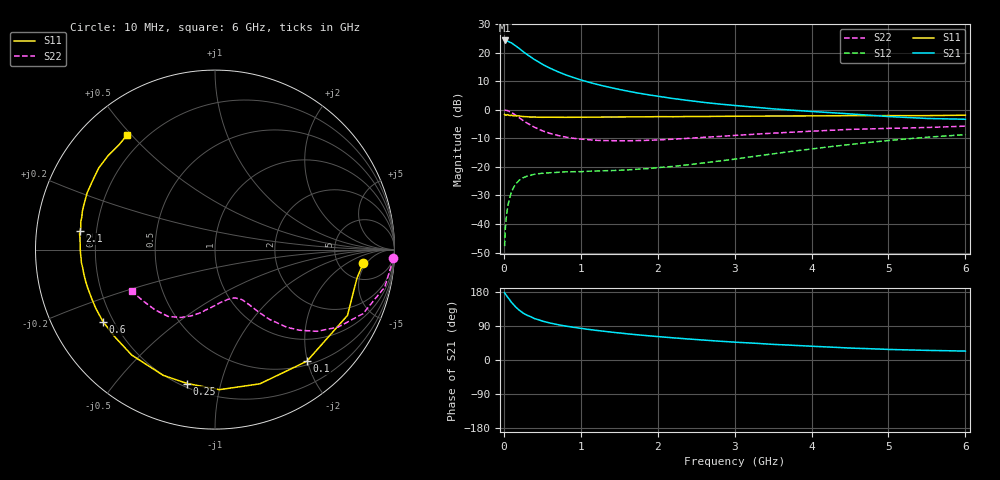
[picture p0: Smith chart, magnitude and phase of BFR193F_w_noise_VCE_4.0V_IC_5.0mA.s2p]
! (c) 2017  Infineon Technologies AG, Munich
! Infineon Technologies  Discrete & RF Semiconductors
! BFR193F
! VCE =  4.0 V,  IC =  5.0 mA
! Common Emitter S-Parameters:  Jan 2017
# GHz  S  MA  R  50
!  f  S11  S21  S12  S22
! GHz  MAG  ANG  MAG  ANG  MAG  ANG  MAG  ANG
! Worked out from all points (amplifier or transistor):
!   77 points, 10 MHz to 6 GHz, reference 50 ohm
!   highest |S21| = 24.3 dB at 10 MHz (marker M1)
!   |S21| within 3 dB of that: start of sweep to 209.1 MHz
!   unconditionally stable (mu >= 1): 1.813 GHz to 3.016 GHz
!   at 130 MHz: K = 0.10, MSG = 25.0 dB, |S12| = -27.1 dB
!   at 2.2 GHz: K = 1.08, MAG = 10.2 dB, |S12| = -19.8 dB
!   at 6 GHz: K = 0.79, MSG = 2.7 dB, |S12| = -8.7 dB
!   lowest NFmin = 0.81 dB at 450 MHz
!   S11 on the Smith chart (normalised r, x): 10 MHz: 8.84, -4.11; 100 MHz: 0.56, -1.99; 250 MHz: 0.22, -0.79; 600 MHz: 0.16, -0.29; 2.1 GHz: 0.14, +0.07; 6 GHz: 0.13, +0.49
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0.01  0.8301 -5.0  16.38 177.6  0.0041 87.5  0.9921 -2.6
0.02  0.8068 -11.4  16.15 174.1  0.0086 85.6  0.9864 -5.1
0.05  0.824 -26.4  15.97 165.6  0.0199 75.5  0.9688 -12.4
0.1  0.8056 -50.5  14.86 151.9  0.0366 65.2  0.8988 -23.4
0.15  0.7885 -71.5  13.3 140.7  0.0496 57.0  0.8102 -32.2
0.2  0.7807 -88.2  11.86 131.5  0.0585 49.5  0.7282 -38.7
0.25  0.762 -101.7  10.46 124.0  0.0646 44.1  0.6502 -43.7
0.3  0.7577 -112.4  9.345 118.3  0.0689 39.4  0.5882 -47.3
0.4  0.7487 -128.3  7.552 109.2  0.0746 34.5  0.4936 -52.0
0.5  0.7404 -139.1  6.279 102.8  0.0774 31.9  0.4298 -54.8
0.6  0.7419 -147.2  5.36 97.6  0.0792 30.5  0.3865 -56.8
0.7  0.7404 -153.7  4.664 93.4  0.0804 29.8  0.3564 -58.5
0.8  0.7392 -158.5  4.112 89.7  0.0822 30.0  0.3333 -60.2
1.1  0.7434 -169.3  3.055 80.8  0.084 33.1  0.2999 -65.2
1.3  0.7479 -174.4  2.609 75.9  0.0857 36.1  0.2891 -69.0
1.6  0.7509 179.7  2.139 69.2  0.0887 41.7  0.2864 -75.5
2.1  0.7585 172.1  1.653 60.2  0.0997 52.1  0.3013 -86.2
2.6  0.7638 166.4  1.349 52.5  0.1177 61.0  0.3302 -95.6
3.1  0.7723 160.7  1.16 46.0  0.1432 67.5  0.3628 -103.4
4.1  0.7837 149.5  0.918 35.4  0.2145 72.0  0.4284 -118.4
5.1  0.792 137.3  0.751 27.4  0.298 68.3  0.4764 -136.9
6  0.8055 127.3  0.683 23.5  0.3674 62.2  0.5184 -153.3
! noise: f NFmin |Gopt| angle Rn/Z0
0.45  0.81  0.31  100  0.1
0.9  1.01  0.45  136  0.09
1.9  1.9  0.63  -179  0.06
2.4  2.34  0.67  -168  0.11
